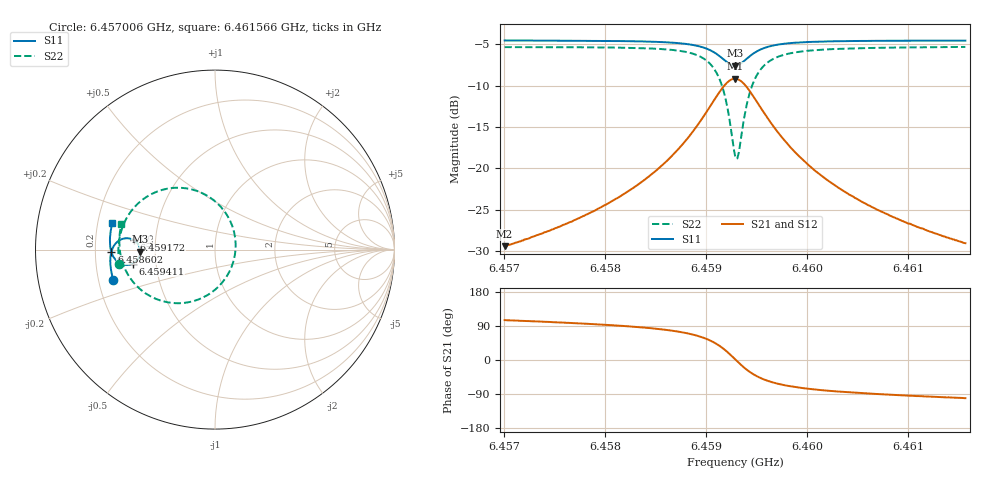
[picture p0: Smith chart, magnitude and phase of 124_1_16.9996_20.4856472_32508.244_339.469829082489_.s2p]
#  HZ  S  RI  R  50.00
! Rohde & Schwarz Vector Network Analyzer
! Rohde-Schwarz,ZNB20-2Port,1311601062101988,3.16
! Created: UTC 3/20/2024, 10:57:39 PM
! freq[Hz]  re:S11  im:S11  re:S21  im:S21  re:S12  im:S12  re:S22  im:S22
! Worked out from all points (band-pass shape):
!   401 points, 6.457006 GHz to 6.461566 GHz, reference 50 ohm
!   highest |S21| = -9.17 dB at 6.459286 GHz (marker M1); lowest = -29.4 dB at 6.457006 GHz (marker M2)
!   |S21| within 3 dB of the highest: 6.459057 GHz to 6.459514 GHz (456.5 kHz wide, 0.00707 % of centre)
!   lowest |S11| = -7.6 dB at 6.459286 GHz (marker M3), VSWR 2.43, Z = 20.6 - j0.559 ohm
!   |S11| at or under -10 dB: nowhere
!   |S22| runs from -18.8 to -5.3 dB; largest |S21 - S12| = 0.014
!   S11 on the Smith chart (normalised r, x): 6.457006 GHz: 0.26, -0.14; 6.458602 GHz: 0.27, -0.01; 6.459172 GHz: 0.38, +0.05; 6.459411 GHz: 0.37, -0.07; 6.461566 GHz: 0.26, +0.12
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6.4570056e9  -0.5667 -0.1713  -0.00894 0.0328  -0.0071 0.0327  -0.5335 -0.0821
6.4577696e9  -0.5806 -0.1044  -0.00547 0.0508  -0.00292 0.0502  -0.5384 0.00779
6.4581572e9  -0.5833 -0.0656  -0.000182 0.0684  0.00294 0.067  -0.5311 0.0689
6.4585335e9  -0.5795 -0.0207  0.0145 0.0994  0.0185 0.0968  -0.504 0.1528
6.4586019e9  -0.5771 -0.0112  0.0198 0.1078  0.0239 0.1048  -0.4939 0.1729
6.4587958e9  -0.5645 0.0194  0.0468 0.1392  0.0508 0.1342  -0.4436 0.2421
6.458944e9  -0.5415 0.0457  0.0924 0.1699  0.0956 0.163  -0.3594 0.3066
6.4590808e9  -0.4972 0.0633  0.1804 0.1862  0.1813 0.179  -0.1989 0.3447
6.459172e9  -0.4523 0.0526  0.271 0.1545  0.2712 0.1487  -0.0316 0.2929
6.4592404e9  -0.4231 0.0201  0.3316 0.0816  0.3337 0.0764  0.0836 0.1618
6.459286e9  -0.4162 -0.0112  0.3478 0.0133  0.3516 0.00631  0.1149 0.034
6.4592974e9  -0.4166 -0.0193  0.3474 -0.00459  0.3515 -0.0121  0.1145 0.000149
6.4593202e9  -0.4201 -0.0351  0.3417 -0.0395  0.3456 -0.0486  0.1027 -0.0658
6.4593659e9  -0.4359 -0.0615  0.3127 -0.0995  0.315 -0.1115  0.044 -0.1789
6.4594115e9  -0.4581 -0.078  0.2704 -0.1407  0.2695 -0.1538  -0.0418 -0.2535
6.4595027e9  -0.5018 -0.0848  0.1849 -0.1717  0.1789 -0.1833  -0.2113 -0.2987
6.4596509e9  -0.5461 -0.0644  0.0967 -0.1576  0.0882 -0.1638  -0.379 -0.2485
6.4598105e9  -0.5679 -0.0368  0.0517 -0.1296  0.0441 -0.1324  -0.4595 -0.1763
6.46005e9  -0.5808 -0.00134  0.0226 -0.0978  0.0166 -0.0984  -0.5074 -0.0937
6.4604148e9  -0.5856 0.0418  0.00569 -0.0694  0.00178 -0.0691  -0.5293 -0.0102
6.4608139e9  -0.5838 0.0822  -0.00138 -0.0521  -0.00425 -0.0514  -0.5329 0.0535
6.4615664e9  -0.572 0.1489  -0.00659 -0.0348  -0.00819 -0.0339  -0.5218 0.1428
